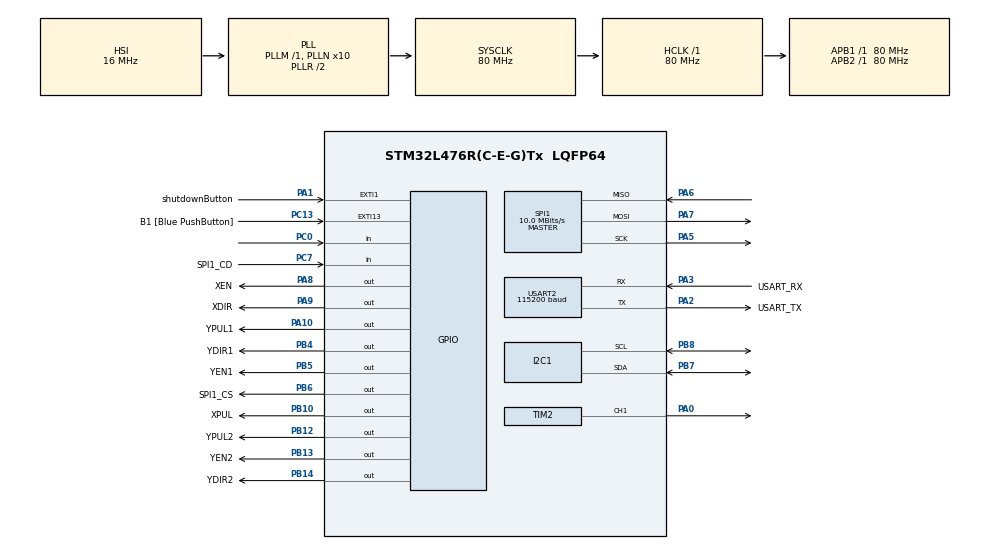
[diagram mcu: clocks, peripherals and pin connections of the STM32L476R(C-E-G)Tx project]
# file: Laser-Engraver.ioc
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FREERTOS.BinarySemaphores01=running,Dynamic,NULL,Depleted;setup,Dynamic,NULL,Depleted;RunFile,Dynamic,NULL,Depleted
FREERTOS.Queues01=valueQueue,100,20,1,Dynamic,NULL,NULL
FREERTOS.Tasks01=LaserEngrave,24,512,StartLaserEngrave,Default,NULL,Dynamic,NULL,NULL;LoadInstruction,8,512,StartLoadInstruction,Default,NULL,Dynamic,NULL,NULL;ControlTask,40,512,StartControlTask,Default,NULL,Dynamic,NULL,NULL
FREERTOS.configTOTAL_HEAP_SIZE=10000
FREERTOS.configUSE_NEWLIB_REENTRANT=1
I2C1.Timing=0x10D19CE4
Mcu.Family=STM32L4
Mcu.Name=STM32L476R(C-E-G)Tx
Mcu.Package=LQFP64
NVIC.EXTI15_10_IRQn=true\:5\:0\:false\:false\:true\:true\:true\:true\:true
NVIC.EXTI1_IRQn=true\:5\:0\:false\:false\:true\:true\:true\:true\:true
NVIC.PriorityGroup=NVIC_PRIORITYGROUP_4
NVIC.TIM1_TRG_COM_TIM17_IRQn=true\:5\:0\:false\:false\:true\:true\:true\:true\:true
NVIC.TIM1_UP_TIM16_IRQn=true\:5\:0\:false\:false\:true\:true\:true\:true\:true
NVIC.TIM3_IRQn=true\:15\:0\:false\:false\:true\:false\:false\:true\:true
NVIC.TimeBase=TIM3_IRQn
NVIC.TimeBaseIP=TIM3
PA0.Signal=S_TIM2_CH1
PA1.GPIO_Label=shutdownButton
PA1.GPIO_PuPd=GPIO_PULLDOWN
PA1.Signal=GPXTI1
PA10.GPIO_Label=YPUL1
PA10.Signal=GPIO_Output
PA13\ (JTMS-SWDIO).GPIO_Label=TMS
PA13\ (JTMS-SWDIO).Mode=Serial_Wire
PA13\ (JTMS-SWDIO).Signal=SYS_JTMS-SWDIO
PA14\ (JTCK-SWCLK).GPIO_Label=TCK
PA14\ (JTCK-SWCLK).Mode=Serial_Wire
PA14\ (JTCK-SWCLK).Signal=SYS_JTCK-SWCLK
PA2.GPIO_Label=USART_TX
PA2.GPIO_Mode=GPIO_MODE_AF_PP
PA2.GPIO_PuPd=GPIO_NOPULL
PA2.GPIO_Speed=GPIO_SPEED_FREQ_VERY_HIGH
PA2.Mode=Asynchronous
PA2.Signal=USART2_TX
PA3.GPIO_Label=USART_RX
PA3.GPIO_Mode=GPIO_MODE_AF_PP
PA3.GPIO_PuPd=GPIO_NOPULL
PA3.GPIO_Speed=GPIO_SPEED_FREQ_VERY_HIGH
PA3.Mode=Asynchronous
PA3.Signal=USART2_RX
PA5.GPIO_PuPd=GPIO_PULLUP
PA5.GPIO_Speed=GPIO_SPEED_FREQ_VERY_HIGH
PA5.Mode=Full_Duplex_Master
PA5.Signal=SPI1_SCK
PA6.GPIO_PuPd=GPIO_PULLUP
PA6.Mode=Full_Duplex_Master
PA6.Signal=SPI1_MISO
PA7.GPIO_PuPd=GPIO_PULLUP
PA7.Mode=Full_Duplex_Master
PA7.Signal=SPI1_MOSI
PA8.GPIO_Label=XEN
PA8.Signal=GPIO_Output
PA9.GPIO_Label=XDIR
PA9.Signal=GPIO_Output
PB10.GPIO_Label=XPUL
PB10.Signal=GPIO_Output
PB12.GPIO_Label=YPUL2
PB12.Signal=GPIO_Output
PB13.GPIO_Label=YEN2
PB13.Signal=GPIO_Output
PB14.GPIO_Label=YDIR2
PB14.Signal=GPIO_Output
PB3\ (JTDO-TRACESWO).GPIO_Label=SWO
PB3\ (JTDO-TRACESWO).Signal=SYS_JTDO-SWO
PB4\ (NJTRST).GPIO_Label=YDIR1
PB4\ (NJTRST).Signal=GPIO_Output
PB5.GPIO_Label=YEN1
PB5.Signal=GPIO_Output
PB6.GPIO_Label=SPI1_CS
PB6.GPIO_PuPd=GPIO_PULLUP
PB6.PinState=GPIO_PIN_SET
PB6.Signal=GPIO_Output
PB7.Mode=I2C
PB7.Signal=I2C1_SDA
PB8.Mode=I2C
PB8.Signal=I2C1_SCL
PC0.Signal=GPIO_Input
PC13.GPIO_Label=B1 [Blue PushButton]
PC13.GPIO_ModeDefaultEXTI=GPIO_MODE_IT_FALLING
PC13.GPIO_PuPd=GPIO_NOPULL
PC13.Signal=GPXTI13
PC14-OSC32_IN\ (PC14).Mode=LSE-External-Oscillator
PC14-OSC32_IN\ (PC14).Signal=RCC_OSC32_IN
PC15-OSC32_OUT\ (PC15).Mode=LSE-External-Oscillator
PC15-OSC32_OUT\ (PC15).Signal=RCC_OSC32_OUT
PC7.GPIO_Label=SPI1_CD
PC7.GPIO_PuPd=GPIO_PULLUP
PC7.Signal=GPIO_Input
PH0-OSC_IN\ (PH0).Signal=RCC_OSC_IN
PH1-OSC_OUT\ (PH1).Signal=RCC_OSC_OUT
ProjectManager.HeapSize=0x200
ProjectManager.StackSize=0x400
ProjectManager.TargetToolchain=STM32CubeIDE
RCC.ADCFreq_Value=64000000
RCC.AHBFreq_Value=80000000
RCC.APB1Freq_Value=80000000
RCC.APB1TimFreq_Value=80000000
RCC.APB2Freq_Value=80000000
RCC.APB2TimFreq_Value=80000000
RCC.CortexFreq_Value=80000000
RCC.HCLKFreq_Value=80000000
RCC.HSE_VALUE=8000000
RCC.HSI_VALUE=16000000
RCC.MSI_VALUE=4000000
RCC.PLLN=10
RCC.PLLSAI1Q=RCC_PLLQ_DIV4
RCC.PLLSourceVirtual=RCC_PLLSOURCE_HSI
RCC.PREFETCH_ENABLE=1
RCC.SYSCLKFreq_VALUE=80000000
RCC.SYSCLKSource=RCC_SYSCLKSOURCE_PLLCLK
RCC.USBFreq_Value=32000000
RCC.VCOOutputFreq_Value=160000000
SH.S_TIM2_CH1.0=TIM2_CH1,PWM Generation1 CH1
SPI1.BaudRatePrescaler=SPI_BAUDRATEPRESCALER_8
SPI1.CLKPhase=SPI_PHASE_2EDGE
SPI1.CLKPolarity=SPI_POLARITY_HIGH
SPI1.CalculateBaudRate=10.0 MBits/s
SPI1.DataSize=SPI_DATASIZE_8BIT
SPI1.Direction=SPI_DIRECTION_2LINES
SPI1.Mode=SPI_MODE_MASTER
SPI1.VirtualType=VM_MASTER
TIM16.Period=400
TIM16.Prescaler=1000
TIM17.Period=400
TIM17.Prescaler=1000
TIM2.AutoReloadPreload=TIM_AUTORELOAD_PRELOAD_ENABLE
TIM2.Channel-PWM\ Generation1\ CH1=TIM_CHANNEL_1
TIM2.Period=79999
USART2.BaudRate=115200
USART2.VirtualMode-Asynchronous=VM_ASYNC
VP_FATFS_VS_Generic.Mode=User_defined
VP_FREERTOS_VS_CMSIS_V2.Mode=CMSIS_V2
VP_SYS_VS_tim3.Mode=TIM3
VP_TIM16_VS_ClockSourceINT.Mode=Enable_Timer
VP_TIM17_VS_ClockSourceINT.Mode=Enable_Timer
board=NUCLEO-L476RG

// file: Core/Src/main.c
/* USER CODE BEGIN Header */
/**
  ******************************************************************************
  * @file           : main.c
  * @brief          : Main program body
  ******************************************************************************
  * @attention
  *
  * Copyright (c) 2025 STMicroelectronics.
  * All rights reserved.
  *
  * This software is licensed under terms that can be found in the LICENSE file
  * in the root directory of this software component.
  * If no LICENSE file comes with this software, it is provided AS-IS.
  *
  ******************************************************************************
  */
/* USER CODE END Header */
#include "main.h"
#include "cmsis_os.h"
#include "fatfs.h"

/* USER CODE BEGIN Includes */
#include <stdio.h>
#include <string.h>
#include <stdlib.h>
#include <math.h>
#include <stdarg.h>
#include <i2c-lcd.h>

/* USER CODE END Includes */

I2C_HandleTypeDef hi2c1;

SPI_HandleTypeDef hspi1;

TIM_HandleTypeDef htim2;
TIM_HandleTypeDef htim16;
TIM_HandleTypeDef htim17;

UART_HandleTypeDef huart2;

/* Definitions for LaserEngrave */
osThreadId_t LaserEngraveHandle;
const osThreadAttr_t LaserEngrave_attributes = {
  .name = "LaserEngrave",
  .stack_size = 512 * 4,
  .priority = (osPriority_t) osPriorityNormal,
};
/* Definitions for LoadInstruction */
osThreadId_t LoadInstructionHandle;
const osThreadAttr_t LoadInstruction_attributes = {
  .name = "LoadInstruction",
  .stack_size = 512 * 4,
  .priority = (osPriority_t) osPriorityLow,
};
/* Definitions for ControlTask */
osThreadId_t ControlTaskHandle;
const osThreadAttr_t ControlTask_attributes = {
  .name = "ControlTask",
  .stack_size = 512 * 4,
  .priority = (osPriority_t) osPriorityHigh,
};
/* Definitions for valueQueue */
osMessageQueueId_t valueQueueHandle;
const osMessageQueueAttr_t valueQueue_attributes = {
  .name = "valueQueue"
};
/* Definitions for running */
osSemaphoreId_t runningHandle;
const osSemaphoreAttr_t running_attributes = {
  .name = "running"
};
/* Definitions for setup */
osSemaphoreId_t setupHandle;
const osSemaphoreAttr_t setup_attributes = {
  .name = "setup"
};
/* Definitions for RunFile */
osSemaphoreId_t RunFileHandle;
const osSemaphoreAttr_t RunFile_attributes = {
  .name = "RunFile"
};
/* USER CODE BEGIN PV */
void myprintf(const char *fmt, ...);
int Xcurrent = 0; // current X coordinate of laser (units of .1mm)
int Ycurrent = 0; // current Y coordinate of laser (units of .1mm)
int XDIR = 1;	// X motor Direction (1 is increasing X coordinate, 0 is decreasing)
int YDIR = 1;	// Y motor Direction (1 is increasing Y coordinate, 0 is decreasing)
int Xend = 0; // End coordinate for the X motor (units of .1mm)
int Yend = 0; // End coordinate for the Y motor (units of .1mm)
int feed = 0;
int laser = 0;
int setup = 0;
int XCurrentCalculate = 0;
int YCurrentCalculate = 0;

typedef struct {
	int Xend;
	int Yend;
	int Xspeed;
	int Yspeed;
	int laserSpeed;
} Executable;

//some variables for FatFs
FATFS FatFs; 	//Fatfs handle
FIL fil; 		//File handle

char RX_Buffer[50] = {0}; // Buffer for LCD screen

/* USER CODE END PV */

void SystemClock_Config(void);
static void MX_GPIO_Init(void);
static void MX_USART2_UART_Init(void);
static void MX_TIM16_Init(void);
static void MX_TIM17_Init(void);
static void MX_SPI1_Init(void);
static void MX_TIM2_Init(void);
static void MX_I2C1_Init(void);
void StartLaserEngrave(void *argument);
void StartLoadInstruction(void *argument);
void StartControlTask(void *argument);

/* USER CODE BEGIN PFP */
void MotorStraightLine();
Executable ComputeExecutables(char[], char[], char[], char[], char[], char[]);
Executable GCommandParse(TCHAR* buff);
void addChar(char*,char);
void LaserEngrave(Executable);
void InitiateMotors();
void SetOutputs(Executable);
void StartEngrave(Executable);
#define PUTCHAR_PROTOTYPE int __io_putchar(int ch)
#define LCD_ADDR 0x27 << 1 // LCD I2C Address (0x27 or 0x3F, depending on your LCD)
/* USER CODE END PFP */

/* USER CODE BEGIN 0 */

void myprintf(const char *fmt, ...)	// Function to print over UART nicely
{
	static char buffer[256];
	va_list args;
	va_start(args, fmt);
	vsnprintf(buffer, sizeof(buffer), fmt, args);
	va_end(args);

	int len = strlen(buffer);
	HAL_UART_Transmit(&huart2, (uint8_t*)buffer, len, -1);

}

/* USER CODE END 0 */

int main(void)
{

  /* MCU Configuration--------------------------------------------------------*/

  /* Reset of all peripherals, Initializes the Flash interface and the Systick. */
  HAL_Init();

  /* Configure the system clock */
  SystemClock_Config();

  /* Initialize all configured peripherals */
  MX_GPIO_Init();
  MX_USART2_UART_Init();
  MX_TIM16_Init();
  MX_TIM17_Init();
  MX_SPI1_Init();
  MX_FATFS_Init();
  MX_TIM2_Init();
  MX_I2C1_Init();
  /* USER CODE BEGIN 2 */
  lcd_init();
  lcd_clear();
  lcd_backlight(1); // Turn on backlight

  /* USER CODE END 2 */

  /* Init scheduler */
  osKernelInitialize();

  /* USER CODE BEGIN RTOS_MUTEX */

  //Open the file system

  HAL_TIM_Base_Start_IT(&htim2);	// Starts the timer for PWM
  MX_I2C1_Init();

  /* USER CODE BEGIN 2 */

  HAL_Delay(1000); //a short delay is important to let the SD card settle

  /* USER CODE BEGIN 2 */

  /* add mutexes, ... */
  /* USER CODE END RTOS_MUTEX */

  /* Create the semaphores(s) */
  /* creation of running */
  runningHandle = osSemaphoreNew(1, 0, &running_attributes);

  /* creation of setup */
  setupHandle = osSemaphoreNew(1, 0, &setup_attributes);

  /* creation of RunFile */
  RunFileHandle = osSemaphoreNew(1, 0, &RunFile_attributes);

  /* Create the queue(s) */
  /* creation of valueQueue */
  valueQueueHandle = osMessageQueueNew (100, 20, &valueQueue_attributes);

  /* Create the thread(s) */
  /* creation of LaserEngrave */
  LaserEngraveHandle = osThreadNew(StartLaserEngrave, NULL, &LaserEngrave_attributes);

  /* creation of LoadInstruction */
  LoadInstructionHandle = osThreadNew(StartLoadInstruction, NULL, &LoadInstruction_attributes);

  /* creation of ControlTask */
  ControlTaskHandle = osThreadNew(StartControlTask, NULL, &ControlTask_attributes);

  /* Start scheduler */
  osKernelStart();

  /* We should never get here as control is now taken by the scheduler */

  /* Infinite loop */
  while (1)
  {

    /* USER CODE BEGIN 3 */
  }
    /* USER CODE END WHILE */

    /* USER CODE BEGIN 3 */
  /* USER CODE END 3 */
}

void SystemClock_Config(void)
{
  RCC_OscInitTypeDef RCC_OscInitStruct = {0};
  RCC_ClkInitTypeDef RCC_ClkInitStruct = {0};

  /** Configure the main internal regulator output voltage
  */
  if (HAL_PWREx_ControlVoltageScaling(PWR_REGULATOR_VOLTAGE_SCALE1) != HAL_OK)
  {
    Error_Handler();
  }

  /** Initializes the RCC Oscillators according to the specified parameters
  * in the RCC_OscInitTypeDef structure.
  */
  RCC_OscInitStruct.OscillatorType = RCC_OSCILLATORTYPE_HSI;
  RCC_OscInitStruct.HSIState = RCC_HSI_ON;
  RCC_OscInitStruct.HSICalibrationValue = RCC_HSICALIBRATION_DEFAULT;
  RCC_OscInitStruct.PLL.PLLState = RCC_PLL_ON;
  RCC_OscInitStruct.PLL.PLLSource = RCC_PLLSOURCE_HSI;
  RCC_OscInitStruct.PLL.PLLM = 1;
  RCC_OscInitStruct.PLL.PLLN = 10;
  RCC_OscInitStruct.PLL.PLLP = RCC_PLLP_DIV7;
  RCC_OscInitStruct.PLL.PLLQ = RCC_PLLQ_DIV2;
  RCC_OscInitStruct.PLL.PLLR = RCC_PLLR_DIV2;
  if (HAL_RCC_OscConfig(&RCC_OscInitStruct) != HAL_OK)
  {
    Error_Handler();
  }

  /** Initializes the CPU, AHB and APB buses clocks
  */
  RCC_ClkInitStruct.ClockType = RCC_CLOCKTYPE_HCLK|RCC_CLOCKTYPE_SYSCLK
                              |RCC_CLOCKTYPE_PCLK1|RCC_CLOCKTYPE_PCLK2;
  RCC_ClkInitStruct.SYSCLKSource = RCC_SYSCLKSOURCE_PLLCLK;
  RCC_ClkInitStruct.AHBCLKDivider = RCC_SYSCLK_DIV1;
  RCC_ClkInitStruct.APB1CLKDivider = RCC_HCLK_DIV1;
  RCC_ClkInitStruct.APB2CLKDivider = RCC_HCLK_DIV1;

  if (HAL_RCC_ClockConfig(&RCC_ClkInitStruct, FLASH_LATENCY_4) != HAL_OK)
  {
    Error_Handler();
  }
}

static void MX_I2C1_Init(void)
{

  hi2c1.Instance = I2C1;
  hi2c1.Init.Timing = 0x10D19CE4;
  hi2c1.Init.OwnAddress1 = 0;
  hi2c1.Init.AddressingMode = I2C_ADDRESSINGMODE_7BIT;
  hi2c1.Init.DualAddressMode = I2C_DUALADDRESS_DISABLE;
  hi2c1.Init.OwnAddress2 = 0;
  hi2c1.Init.OwnAddress2Masks = I2C_OA2_NOMASK;
  hi2c1.Init.GeneralCallMode = I2C_GENERALCALL_DISABLE;
  hi2c1.Init.NoStretchMode = I2C_NOSTRETCH_DISABLE;
  if (HAL_I2C_Init(&hi2c1) != HAL_OK)
  {
    Error_Handler();
  }

  /** Configure Analogue filter
  */
  if (HAL_I2CEx_ConfigAnalogFilter(&hi2c1, I2C_ANALOGFILTER_ENABLE) != HAL_OK)
  {
    Error_Handler();
  }

  /** Configure Digital filter
  */
  if (HAL_I2CEx_ConfigDigitalFilter(&hi2c1, 0) != HAL_OK)
  {
    Error_Handler();
  }

}

static void MX_SPI1_Init(void)
{

  /* SPI1 parameter configuration*/
  hspi1.Instance = SPI1;
  hspi1.Init.Mode = SPI_MODE_MASTER;
  hspi1.Init.Direction = SPI_DIRECTION_2LINES;
  hspi1.Init.DataSize = SPI_DATASIZE_8BIT;
  hspi1.Init.CLKPolarity = SPI_POLARITY_HIGH;
  hspi1.Init.CLKPhase = SPI_PHASE_2EDGE;
  hspi1.Init.NSS = SPI_NSS_SOFT;
  hspi1.Init.BaudRatePrescaler = SPI_BAUDRATEPRESCALER_8;
  hspi1.Init.FirstBit = SPI_FIRSTBIT_MSB;
  hspi1.Init.TIMode = SPI_TIMODE_DISABLE;
  hspi1.Init.CRCCalculation = SPI_CRCCALCULATION_DISABLE;
  hspi1.Init.CRCPolynomial = 7;
  hspi1.Init.CRCLength = SPI_CRC_LENGTH_DATASIZE;
  hspi1.Init.NSSPMode = SPI_NSS_PULSE_DISABLE;
  if (HAL_SPI_Init(&hspi1) != HAL_OK)
  {
    Error_Handler();
  }

}

static void MX_TIM2_Init(void)
{

  TIM_MasterConfigTypeDef sMasterConfig = {0};
  TIM_OC_InitTypeDef sConfigOC = {0};

  htim2.Instance = TIM2;
  htim2.Init.Prescaler = 0;
  htim2.Init.CounterMode = TIM_COUNTERMODE_UP;
  htim2.Init.Period = 79999;
  htim2.Init.ClockDivision = TIM_CLOCKDIVISION_DIV1;
  htim2.Init.AutoReloadPreload = TIM_AUTORELOAD_PRELOAD_ENABLE;
  if (HAL_TIM_PWM_Init(&htim2) != HAL_OK)
  {
    Error_Handler();
  }
  sMasterConfig.MasterOutputTrigger = TIM_TRGO_RESET;
  sMasterConfig.MasterSlaveMode = TIM_MASTERSLAVEMODE_DISABLE;
  if (HAL_TIMEx_MasterConfigSynchronization(&htim2, &sMasterConfig) != HAL_OK)
  {
    Error_Handler();
  }
  sConfigOC.OCMode = TIM_OCMODE_PWM1;
  sConfigOC.Pulse = 0;
  sConfigOC.OCPolarity = TIM_OCPOLARITY_HIGH;
  sConfigOC.OCFastMode = TIM_OCFAST_DISABLE;
  if (HAL_TIM_PWM_ConfigChannel(&htim2, &sConfigOC, TIM_CHANNEL_1) != HAL_OK)
  {
    Error_Handler();
  }
  HAL_TIM_MspPostInit(&htim2);

}

static void MX_TIM16_Init(void)
{

  htim16.Instance = TIM16;
  htim16.Init.Prescaler = 1000;
  htim16.Init.CounterMode = TIM_COUNTERMODE_UP;
  htim16.Init.Period = 400;
  htim16.Init.ClockDivision = TIM_CLOCKDIVISION_DIV1;
  htim16.Init.RepetitionCounter = 0;
  htim16.Init.AutoReloadPreload = TIM_AUTORELOAD_PRELOAD_DISABLE;
  if (HAL_TIM_Base_Init(&htim16) != HAL_OK)
  {
    Error_Handler();
  }

}

static void MX_TIM17_Init(void)
{

  htim17.Instance = TIM17;
  htim17.Init.Prescaler = 1000;
  htim17.Init.CounterMode = TIM_COUNTERMODE_UP;
  htim17.Init.Period = 400;
  htim17.Init.ClockDivision = TIM_CLOCKDIVISION_DIV1;
  htim17.Init.RepetitionCounter = 0;
  htim17.Init.AutoReloadPreload = TIM_AUTORELOAD_PRELOAD_DISABLE;
  if (HAL_TIM_Base_Init(&htim17) != HAL_OK)
  {
    Error_Handler();
  }

}

static void MX_USART2_UART_Init(void)
{

  huart2.Instance = USART2;
  huart2.Init.BaudRate = 115200;
  huart2.Init.WordLength = UART_WORDLENGTH_8B;
  huart2.Init.StopBits = UART_STOPBITS_1;
  huart2.Init.Parity = UART_PARITY_NONE;
  huart2.Init.Mode = UART_MODE_TX_RX;
  huart2.Init.HwFlowCtl = UART_HWCONTROL_NONE;
  huart2.Init.OverSampling = UART_OVERSAMPLING_16;
  huart2.Init.OneBitSampling = UART_ONE_BIT_SAMPLE_DISABLE;
  huart2.AdvancedInit.AdvFeatureInit = UART_ADVFEATURE_NO_INIT;
  if (HAL_UART_Init(&huart2) != HAL_OK)
  {
    Error_Handler();
  }

}

static void MX_GPIO_Init(void)
{
  GPIO_InitTypeDef GPIO_InitStruct = {0};

  /* GPIO Ports Clock Enable */
  __HAL_RCC_GPIOC_CLK_ENABLE();
  __HAL_RCC_GPIOH_CLK_ENABLE();
  __HAL_RCC_GPIOA_CLK_ENABLE();
  __HAL_RCC_GPIOB_CLK_ENABLE();

  /*Configure GPIO pin Output Level */
  HAL_GPIO_WritePin(GPIOB, XPUL_Pin|YPUL2_Pin|YEN2_Pin|YDIR2_Pin
                          |YDIR1_Pin|YEN1_Pin, GPIO_PIN_RESET);

  /*Configure GPIO pin Output Level */
  HAL_GPIO_WritePin(GPIOA, XEN_Pin|XDIR_Pin|YPUL1_Pin, GPIO_PIN_RESET);

  /*Configure GPIO pin Output Level */
  HAL_GPIO_WritePin(SPI1_CS_GPIO_Port, SPI1_CS_Pin, GPIO_PIN_SET);

  /*Configure GPIO pin : B1_Pin */
  GPIO_InitStruct.Pin = B1_Pin;
  GPIO_InitStruct.Mode = GPIO_MODE_IT_FALLING;
  GPIO_InitStruct.Pull = GPIO_NOPULL;
  HAL_GPIO_Init(B1_GPIO_Port, &GPIO_InitStruct);

  /*Configure GPIO pin : PC0 */
  GPIO_InitStruct.Pin = GPIO_PIN_0;
  GPIO_InitStruct.Mode = GPIO_MODE_INPUT;
  GPIO_InitStruct.Pull = GPIO_NOPULL;
  HAL_GPIO_Init(GPIOC, &GPIO_InitStruct);

  /*Configure GPIO pin : shutdownButton_Pin */
  GPIO_InitStruct.Pin = shutdownButton_Pin;
  GPIO_InitStruct.Mode = GPIO_MODE_IT_RISING;
  GPIO_InitStruct.Pull = GPIO_PULLDOWN;
  HAL_GPIO_Init(shutdownButton_GPIO_Port, &GPIO_InitStruct);

  /*Configure GPIO pins : XPUL_Pin YPUL2_Pin YEN2_Pin YDIR2_Pin
                           YDIR1_Pin YEN1_Pin */
  GPIO_InitStruct.Pin = XPUL_Pin|YPUL2_Pin|YEN2_Pin|YDIR2_Pin
                          |YDIR1_Pin|YEN1_Pin;
  GPIO_InitStruct.Mode = GPIO_MODE_OUTPUT_PP;
  GPIO_InitStruct.Pull = GPIO_NOPULL;
  GPIO_InitStruct.Speed = GPIO_SPEED_FREQ_LOW;
  HAL_GPIO_Init(GPIOB, &GPIO_InitStruct);

  /*Configure GPIO pin : SPI1_CD_Pin */
  GPIO_InitStruct.Pin = SPI1_CD_Pin;
  GPIO_InitStruct.Mode = GPIO_MODE_INPUT;
  GPIO_InitStruct.Pull = GPIO_PULLUP;
  HAL_GPIO_Init(SPI1_CD_GPIO_Port, &GPIO_InitStruct);

  /*Configure GPIO pins : XEN_Pin XDIR_Pin YPUL1_Pin */
  GPIO_InitStruct.Pin = XEN_Pin|XDIR_Pin|YPUL1_Pin;
  GPIO_InitStruct.Mode = GPIO_MODE_OUTPUT_PP;
  GPIO_InitStruct.Pull = GPIO_NOPULL;
  GPIO_InitStruct.Speed = GPIO_SPEED_FREQ_LOW;
  HAL_GPIO_Init(GPIOA, &GPIO_InitStruct);

  /*Configure GPIO pin : SPI1_CS_Pin */
  GPIO_InitStruct.Pin = SPI1_CS_Pin;
  GPIO_InitStruct.Mode = GPIO_MODE_OUTPUT_PP;
  GPIO_InitStruct.Pull = GPIO_PULLUP;
  GPIO_InitStruct.Speed = GPIO_SPEED_FREQ_LOW;
  HAL_GPIO_Init(SPI1_CS_GPIO_Port, &GPIO_InitStruct);

  /* EXTI interrupt init*/
  HAL_NVIC_SetPriority(EXTI1_IRQn, 5, 0);
  HAL_NVIC_EnableIRQ(EXTI1_IRQn);

  HAL_NVIC_SetPriority(EXTI15_10_IRQn, 5, 0);
  HAL_NVIC_EnableIRQ(EXTI15_10_IRQn);

}

/* USER CODE BEGIN 4 */

// function call to find 0 0 and align the motors to the correct starting position
void InitiateMotors()
{

	// setup variable which ensures the enable pins don't shut the system down during setup
	setup = 2;

	// writes a 0 to the enable pins to disable the motors
	HAL_GPIO_WritePin(XEN_GPIO_Port, XEN_Pin, 0);
	HAL_GPIO_WritePin(YEN1_GPIO_Port, YEN1_Pin, 0);
	HAL_GPIO_WritePin(YEN2_GPIO_Port, YEN2_Pin, 0);

	HAL_GPIO_WritePin(YDIR1_GPIO_Port, YDIR1_Pin, 1);
	HAL_GPIO_WritePin(YDIR2_GPIO_Port, YDIR2_Pin, 1);
	YDIR = 1;

	// Sets the Y end point, motor prescaler value and starts the motor
	Yend = 99999999;
	__HAL_TIM_SET_PRESCALER(&htim17, 50);
	HAL_TIM_Base_Start_IT(&htim17);

	// Waits for the out of bounds button to be hit
	osSemaphoreAcquire(setupHandle, osWaitForever);
	HAL_Delay(500);
	setup--;
	Xcurrent = 0;
	Xend = 0;
	Ycurrent = 0;
	Yend = -10400;

	HAL_GPIO_WritePin(YDIR1_GPIO_Port, YDIR1_Pin, 0);
	HAL_GPIO_WritePin(YDIR2_GPIO_Port, YDIR2_Pin, 0);
	YDIR = 0;
	__HAL_TIM_SET_PRESCALER(&htim17, 30);
	HAL_TIM_Base_Start_IT(&htim17);

	osSemaphoreAcquire(runningHandle, osWaitForever);

	lcd_clear();
	lcd_write_string("Y motor ready");

	HAL_Delay(500);

	HAL_GPIO_WritePin(XDIR_GPIO_Port, XDIR_Pin, 0);
	XDIR = 0;

	// Sets the X end point, motor prescaler value and starts the motor
	Xend = -99999999;
	__HAL_TIM_SET_PRESCALER(&htim16, 50);
	HAL_TIM_Base_Start_IT(&htim16);

	// Waits for the out of bounds button to be hit
	osSemaphoreAcquire(setupHandle, osWaitForever);
	HAL_Delay(500);
	Xcurrent = 0;
	Xend = 16500;
	Ycurrent = 0;
	Yend = 0;

	HAL_GPIO_WritePin(XDIR_GPIO_Port, XDIR_Pin, 1);
	XDIR = 1;
	__HAL_TIM_SET_PRESCALER(&htim16, 50);
	HAL_TIM_Base_Start_IT(&htim16);

	osSemaphoreAcquire(runningHandle, osWaitForever);
	setup--;

	lcd_clear();
	lcd_write_string("X motor ready");

	HAL_Delay(500);

	Xcurrent = 0;
	Ycurrent = 0;

}

// Interrupt Handler
void HAL_GPIO_EXTI_Callback(uint16_t GPIO_Pin) {

	// code for the shutdown buttons which trigger if the motors run out of bounds
	if (GPIO_Pin == shutdownButton_Pin)
	{
		if (setup == 0)
		{
			// Turns of the laser's PWM
			HAL_TIM_PWM_Stop(&htim2, TIM_CHANNEL_1);
			HAL_TIM_Base_Stop_IT(&htim2);

			// Turns off the motor timers so they don't send a signal anymore
			HAL_TIM_Base_Stop_IT(&htim16);
			HAL_TIM_Base_Stop_IT(&htim17);

			// Turns enable output on
			HAL_GPIO_WritePin(XEN_GPIO_Port, XEN_Pin, 1);
			HAL_GPIO_WritePin(YEN1_GPIO_Port, YEN1_Pin, 1);
			HAL_GPIO_WritePin(YEN2_GPIO_Port, YEN2_Pin, 1);

			while(1)
			{
				lcd_clear();
				lcd_write_string("Out of Bounds");
				HAL_Delay(10000);
			}
		}
		else
		{
			if (XDIR == 0)
			{
				HAL_TIM_Base_Stop_IT(&htim16);
			}
			if (YDIR == 1)
			{
				HAL_TIM_Base_Stop_IT(&htim17);
			}
			osSemaphoreRelease(setupHandle);
		}
	}
}

Executable GCommandParse(TCHAR* line1)
{

	  // Creates local variables for the different possible commands in Gcode (max 10 characters)
	  char Gcommand[10] = "";
	  char Xcoordinate[10] = "";
	  char Ycoordinate[10] = "";
	  char Zcoordinate[10] = "";
	  char feedRate[10] = "";
	  char laserSpeed[10] = "";

	  // New struct to save the values of the executables which are calculated in these functions
	  Executable newExecutable;

	  int i = 0;
	  // Initiates a for loop which loops each character of the Gcode line
	  while (1)
	  {

		  // Creates a temporary variable for the Gcode command and the value attached to it
		  char command = line1[i];	// assigns the first value of the Gcode as the command
		  char newValue[10] = "";

		  // Temporary, incrementing variables
		  int j = 0;	// represents the current charcter in the word
		  i++;		// indicates the total character in the line

		  // while loop that loops through the rest of the command and stores the value in newValue
		  while ((line1[i] != ' ') && (line1[i] != '\0') && (line1[i] != '\n'))
		  {
			  newValue[j] = line1[i];
			  i++;
			  j++;
		  }

		  //adds the null operator to the end of the newValue
		  newValue[j] = '\0';

		  // Switch statement for the value of command to split the current word into it's variable
		  switch (command)
		  {
		  case 'G':
			  strncpy(Gcommand, newValue, 10);	// copies the value in newValue to the Gcommand variable
				break;
		  case 'X':
			  strncpy(Xcoordinate, newValue, 10);	// copies the value in newValue to the Xcoordinate variable
				break;
		  case 'Y':
			  strncpy(Ycoordinate, newValue, 10);	// copies the value in newValue to the Ycoordinate variable
				break;
		  case 'Z':
			  strncpy(Zcoordinate, newValue, 10);	// copies the value in newValue to the Zcoordinate variable
				break;
		  case 'M':
			  strncpy(Gcommand, newValue, 10);	// copies the value in newValue to the Mcommand variable
				break;
		  case 'S':
			  strncpy(laserSpeed, newValue, 10);	// copies the value in newValue to the laserSpeed variable
				break;
		  case 'F':
			  strncpy(feedRate, newValue, 10);	// copies the value in newValue to the feedRate variable
				break;
		  case 'R':
				break;
		  default:
				break;
		  }

		  // When the new line operator occurs, this means the line is over, so we break the while loop
		  if (line1[i] == '\n')
			  break;

		  // increments i to the value of the first character of the next command
		  i++;
	  }

	  // Calls the Compute Executables command which computes the output Executables
	  newExecutable = ComputeExecutables(Gcommand, Xcoordinate, Ycoordinate, Zcoordinate, feedRate, laserSpeed);

	  // Returns the values in the Executable struct
	  return newExecutable;
}

// function which adds a char to the end of a char array
void addChar(char *s, char c)
{
	while (*s++);

	*(s - 1) = c;

	*s = '\0';
}

// Command Execute takes the parameters from the Gcode line and controls the motors accordingly
Executable ComputeExecutables(char Gcommand[], char Xcommand[], char Ycommand[], char Zcommand[], char feedRate[], char laserSpeed[])
{

	// creates a temporary Executable struct to save the values we compute
	Executable newExecutable;

	// If the Gcode command is G0, runs with rapid positioning (full speed move)
	if ((!strcmp(Gcommand,"0")) || (!strcmp(Gcommand,"1")))
	{

		// If there is a value in Xcommand, it computes the end point of the system (1600 pulses per motor rotation, 43.39 mm per rotation)
		if (Xcommand[0] != '\0')
		{
			newExecutable.Xend = ((6000 / 152) * atof(Xcommand));	// Converts Xcommand to an int, changes units to .1 mms and updates the global variable
		}

		// If there is no value in Xcommand, Xend equals the current Xvalue (Xcurrent is a global variable that stores the X position that is currently being calculated
		else
		{
			newExecutable.Xend = XCurrentCalculate;
		}

		// If there is a value in Ycommand, it computes the end point of the system (1600 pulses per motor rotation, 43.39 mm per rotation)
		if (Ycommand[0] != '\0')
		{
			newExecutable.Yend = ((1600 / 40) * atof(Ycommand));	// Converts Ycommand to an int, changes units to .1 mms and updates the global variable
		}

		// If there is no value in Xcommand, Xend equals the current Xvalue (Xcurrent is a global variable that stores the X position that is currently being calculated
		else
		{
			newExecutable.Yend = YCurrentCalculate;
		}

		// Calculates distance to be traveled in the current engrave
		float Xdistance = newExecutable.Xend - XCurrentCalculate;
		float Ydistance = newExecutable.Yend - YCurrentCalculate;

		// sets the current calculate global variable for the next line to use
		XCurrentCalculate = newExecutable.Xend;
		YCurrentCalculate = newExecutable.Yend;

		// sets the feedRate variable (sometimes the Gcommand doesn't put in a new feedRate variable and the feedRate stays the same
		// In order to calculate each step, we need to save the feedRate because the next command may need it
		if (feedRate[0] != '\0')
		{
			feed = atoi(feedRate);	// Converts feedRate to an int
		}

		// Initiates the Xspeed and Yspeed variables to 1 (so if the speed doesn't change, the next instruction won't divide by 0)
		// It is set to one so that the timer interrupt will be called quickly, and the stopped motor won't disrupt the other motor)
		newExecutable.Xspeed = 1;
		newExecutable.Yspeed = 1;

		// calculates the total distance in order to evaluate the speed (feedRate is given in a direct, diagonal path)
		float totalDistance = sqrt((Xdistance * Xdistance) + (Ydistance * Ydistance));

		// ensures the distance won't be divided by 0
		if (Xdistance != 0)
		{

			// Calcualtes the required prescaler value and saves it in the Xspeed variable
			newExecutable.Xspeed = 152014 / ((abs(Xdistance) / totalDistance) * feed);
		}

		// Ensures the distance won't be divided by 0
		if (Ydistance != 0)
		{

			// Calculates the required prescaler value and saves it in the Yspeed variable
			newExecutable.Yspeed = 150000 / ((abs(Ydistance) / totalDistance) * feed);
		}

		// Converters laserSpeed to an int
		newExecutable.laserSpeed = atoi(laserSpeed);

	}

	// if there are any other possible input comands (M command, G02, G03, etc. we can put them here)

	// returns the Executable struct
	return newExecutable;

}

// Function to set the laser power. input must be a value from 0 to 255
void SetLaserPower(uint8_t power) {

	// the timer requires the duty cycle in a ratio from 0 to 80000
	float dutyCycle = (power/255.0) * 80000;
    TIM2->CCR1 = dutyCycle;  // Set duty cycle
}

// Function to start the motors and laser for engraving
void StartEngrave(Executable output){

	  // Starts the PWM for the laser
	  HAL_TIM_PWM_Start(&htim2, TIM_CHANNEL_1);
	  HAL_TIM_Base_Start_IT(&htim2);

	  // Starts the timers for the motors
	  HAL_TIM_Base_Start_IT(&htim16);
	  HAL_TIM_Base_Start_IT(&htim17);

}

// Function which sets all the parameters in order to engrave
void SetOutputs(Executable output){

	// Sets the Xend and Yend global variables so the motors know when to stop
	Xend = output.Xend;
	Yend = output.Yend;

	// Updates the X Direction variable and writes to the pin
	if (output.Xend > Xcurrent)
	{
		XDIR = 1;
		HAL_GPIO_WritePin(XDIR_GPIO_Port, XDIR_Pin, 1);
	}
	else if (output.Xend < Xcurrent)
	{
		XDIR = 0;
		HAL_GPIO_WritePin(XDIR_GPIO_Port, XDIR_Pin, 0);
	}

	// Updates the X Direction variable and writes to the pin
	if (output.Yend > Ycurrent)
	{
		YDIR = 1;
		HAL_GPIO_WritePin(YDIR1_GPIO_Port, YDIR1_Pin, 1);
		HAL_GPIO_WritePin(YDIR2_GPIO_Port, YDIR2_Pin, 1);
	}
	else if (output.Yend < Ycurrent)
	{
		YDIR = 0;
		HAL_GPIO_WritePin(YDIR1_GPIO_Port, YDIR1_Pin, 0);
		HAL_GPIO_WritePin(YDIR2_GPIO_Port, YDIR2_Pin, 0);
	}

	// Sets the prescaler values so the motors turn at the correct speed
	__HAL_TIM_SET_PRESCALER(&htim16, output.Xspeed);
	__HAL_TIM_SET_PRESCALER(&htim17, output.Yspeed);

	// Sets the Laser Power to the correct value
	SetLaserPower(output.laserSpeed);
}

PUTCHAR_PROTOTYPE
{
	HAL_UART_Transmit(&huart2, (uint8_t *) &ch, 1, 0xFFFF);
	return ch;
}

/* USER CODE END 4 */

void StartLaserEngrave(void *argument)
{
  /* USER CODE BEGIN 5 */

	while (setup != 0) osDelay(1);
  // Ensures the enable pins are turned off to allow the motors to turn
  HAL_GPIO_WritePin(XEN_GPIO_Port, XEN_Pin,0);
  HAL_GPIO_WritePin(YEN1_GPIO_Port, YEN1_Pin,0);
  HAL_GPIO_WritePin(YEN2_GPIO_Port, YEN2_Pin,0);

  // Declares the executable outside the for loop so that it doesn't have to be redeclared every time
  Executable newExecutable;

  // gives the loadInstruction Task a chance to load data from the SD card to fill the queue
  osDelay(100);

  osSemaphoreRelease(runningHandle);

  /* Infinite loop */
  for(;;)
  {
	  	  // This is where the program waits for the engrave to finish. The semaphore is initiated as fulfilled so it begins correctly.
		  osSemaphoreAcquire(runningHandle, osWaitForever);

		  // Gets the executable struct from the queue with the next engrave
		  osMessageQueueGet(valueQueueHandle, (Executable *) &newExecutable, 0, osWaitForever);

		  // Sets the outputs such as the DIR outputs, the motor speeds and the laser PWM duty cycle
		  SetOutputs(newExecutable);

		  // Begins the timers for the engrave
		  StartEngrave(newExecutable);
  }

  osThreadTerminate(NULL); // In case we accidentally exit from task loop
  /* USER CODE END 5 */
}

/* USER CODE BEGIN Header_StartLoadInstruction */
/**
This is the LoadInstruction Task whose main purpose is to load information from the SD card, translate it into executable data, and add it to the queue
This task has a lower priority than the laser engrave task, since we can load information in the background while the motors are running rather than during the laser engrave task
*/
/* USER CODE END Header_StartLoadInstruction */
void StartLoadInstruction(void *argument)
{
  /* USER CODE BEGIN StartLoadInstruction */
  /* Infinite loop */
	while (setup != 0) osDelay(1);

	// Declares variables outside of the loop so we don't have to reallocate memory for them each iteration of the for loop
	BYTE readBuf[100];	// char array to store data from SD card
	TCHAR* rres;	// return variable determining if the SD card is out of data
	Executable newExecutable;	// int array with variables for us to execute

  for(;;)
  {
	  // reads a line from the SD card and saves it in readBuf
	  rres = f_gets((TCHAR*)readBuf, 100, &fil);

	  // if there is data sent, it calls the GcommandParse function which computes the values we need to save in the executable struct
	  if(rres != 0) {
		newExecutable = GCommandParse((TCHAR*)readBuf);

	  // if f_get returns 0, the program ends and enters a while loop
	  } else {
		f_close(&fil);	// closes the SD card file
		osSemaphoreRelease(RunFileHandle);	// Releases the semaphore to give control back to the ControlTask
	  }

	  // Once we have the executable struct, we save the address to the Queue
	  osMessageQueuePut(valueQueueHandle, &newExecutable, 0, osWaitForever);
  }

  osThreadTerminate(NULL); // In case we accidentally exit from task loop
  /* USER CODE END StartLoadInstruction */
}

void StartControlTask(void *argument)
{
  /* USER CODE BEGIN StartControlTask */
  /* Infinite loop */
  for(;;)
  {

	  //some variables for FatFs
	  FATFS FatFs;    //Fatfs handle
	  FRESULT fres;    //Result after operations
	  DIR dir;			//Directory
	  FILINFO fno;		// File info

	  //Open the file system
	  fres = f_mount(&FatFs, "", 1); //1=mount now
	  if (fres != FR_OK) {
		lcd_clear();
		lcd_write_string("No SD card detected");
		while(1);
	  }

	  f_opendir(&dir, "/");   // Open Root

	  int count = 0;
	  do
	  	  {
	  	      f_readdir(&dir, &fno);
	  	      if(fno.fname[0] != 0)
	  	    	  count++;
	  	  } while(fno.fname[0] != 0);

	  f_closedir(&dir);
	  f_opendir(&dir, "/");

	  char fileNames[count][20];
	  int i = 0;
	  do
	  {
	      f_readdir(&dir, &fno);
	      if(fno.fname[0] != 0)
	      {
	    	  strcpy(fileNames[i], fno.fname);
	    	  i++;
	      }
	  } while(fno.fname[0] != 0);

	  i = 0;

	  fres = f_open(&fil, "BYUI.g", FA_READ);
	  if (fres != FR_OK){
		lcd_clear();
		lcd_write_string("Wrong File");
		while(1){}
	  }

	  lcd_clear();
	  lcd_write_string("Motors Initiating");
	  InitiateMotors();
	  lcd_clear();
	  lcd_write_string("Running program");
	  osSemaphoreAcquire(RunFileHandle, osWaitForever);

	  lcd_clear();
	  lcd_write_string(("Program Complete!"));
	  HAL_Delay(5000);
	  while(1)
	  {}

  }
  /* USER CODE END StartControlTask */
}

void HAL_TIM_PeriodElapsedCallback(TIM_HandleTypeDef *htim)
{
  /* USER CODE BEGIN Callback 0 */

	if (htim == &htim16)	// X motor timer
	{
		if (Xcurrent != Xend)	// Evaluates if the X motor has arrived in it's position
		{
			HAL_GPIO_TogglePin(XPUL_GPIO_Port, XPUL_Pin);	// Toggles the XPUL pin

			// Increments the Xcurrent value if XDIR is positive and decrements if Xcurrent value is negative
			// only increments every other cycle
			if (!HAL_GPIO_ReadPin(XPUL_GPIO_Port, XPUL_Pin))
			{
				if (XDIR == 1) Xcurrent++;

				else Xcurrent--;
			}
		}
		else
		{
			HAL_TIM_Base_Stop_IT(&htim16);	// Once the X motor arrives to it's final position, this stops the timer

			// if the X motor and Y motor have both arrived at their destinations
			if ((Ycurrent == Yend))
			{

				// stops the laser PWM
				HAL_TIM_Base_Stop_IT(&htim2);
				HAL_TIM_PWM_Stop(&htim2, TIM_CHANNEL_1);

				// Gives the semaphore so the program can continue
				if (osSemaphoreGetCount(runningHandle) == 0)
					osSemaphoreRelease(runningHandle);
			}
		}
	}

	if (htim == &htim17)	// Y motor timer
	{

		if (Ycurrent != Yend)	// Evaluates if the Y motor has arrived in it's position
		{

			HAL_GPIO_TogglePin(YPUL1_GPIO_Port, YPUL1_Pin);	// Toggles the YPUL pin
			HAL_GPIO_TogglePin(YPUL2_GPIO_Port, YPUL2_Pin);

			// Increments the Ycurrent value if YDIR is positive and decrements if Ycurrent value is negative
			if (!HAL_GPIO_ReadPin(YPUL1_GPIO_Port, YPUL1_Pin))
			{
				if (YDIR == 1) Ycurrent++;

				else Ycurrent--;
			}
		}
		else
		{
		  HAL_TIM_Base_Stop_IT(&htim17);	// Once the Y motor arrives to it's final position, this stops the timer

		  // if the X motor and Y motor have both arrived at their destinations
		  if (Xcurrent == Xend)
		  {
			  // stops the laser PWM
			  HAL_TIM_Base_Stop_IT(&htim2);
			  HAL_TIM_PWM_Stop(&htim2, TIM_CHANNEL_1);
				// Gives the semaphore so the program can continue
			  if (osSemaphoreGetCount(runningHandle) == 0)
				  osSemaphoreRelease(runningHandle);
		  }
		}
	}
  /* USER CODE END Callback 0 */
  if (htim->Instance == TIM3)
  {
    HAL_IncTick();
  }
}

void Error_Handler(void)
{
  __disable_irq();
  while (1)
  {
  }
}
